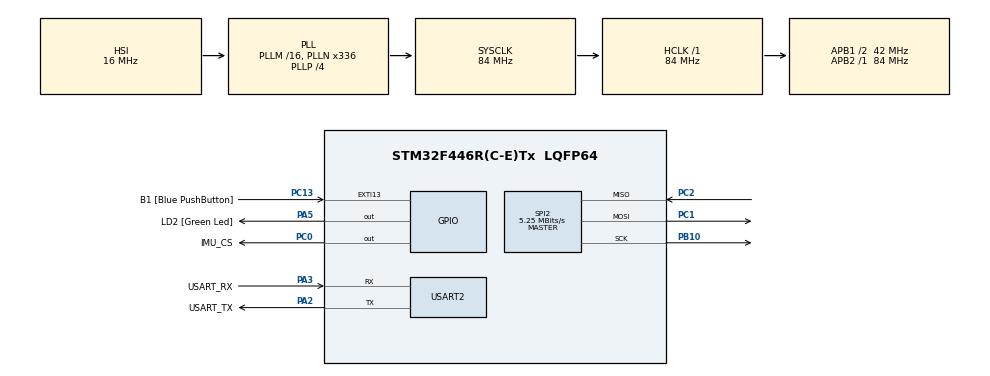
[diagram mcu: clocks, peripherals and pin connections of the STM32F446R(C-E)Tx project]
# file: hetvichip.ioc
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Mcu.Family=STM32F4
Mcu.Name=STM32F446R(C-E)Tx
Mcu.Package=LQFP64
NVIC.PriorityGroup=NVIC_PRIORITYGROUP_0
PA13.GPIO_Label=TMS
PA13.Mode=Serial_Wire
PA13.Signal=SYS_JTMS-SWDIO
PA14.GPIO_Label=TCK
PA14.Mode=Serial_Wire
PA14.Signal=SYS_JTCK-SWCLK
PA2.GPIO_Label=USART_TX
PA2.Mode=Asynchronous
PA2.Signal=USART2_TX
PA3.GPIO_Label=USART_RX
PA3.Mode=Asynchronous
PA3.Signal=USART2_RX
PA5.GPIO_Label=LD2 [Green Led]
PA5.Signal=GPIO_Output
PB10.Mode=Full_Duplex_Master
PB10.Signal=SPI2_SCK
PB3.GPIO_Label=SWO
PB3.Signal=SYS_JTDO-SWO
PC0.GPIO_Label=IMU_CS
PC0.Signal=GPIO_Output
PC1.Mode=Full_Duplex_Master
PC1.Signal=SPI2_MOSI
PC13.GPIO_Label=B1 [Blue PushButton]
PC13.GPIO_ModeDefaultEXTI=GPIO_MODE_IT_FALLING
PC13.Signal=GPXTI13
PC14-OSC32_IN.Mode=LSE-External-Oscillator
PC14-OSC32_IN.Signal=RCC_OSC32_IN
PC15-OSC32_OUT.Mode=LSE-External-Oscillator
PC15-OSC32_OUT.Signal=RCC_OSC32_OUT
PC2.Mode=Full_Duplex_Master
PC2.Signal=SPI2_MISO
PH0-OSC_IN.Mode=HSE-External-Oscillator
PH0-OSC_IN.Signal=RCC_OSC_IN
PH1-OSC_OUT.Mode=HSE-External-Oscillator
PH1-OSC_OUT.Signal=RCC_OSC_OUT
ProjectManager.HeapSize=0x200
ProjectManager.StackSize=0x400
ProjectManager.TargetToolchain=CMake
RCC.48MHZClocksFreq_Value=84000000
RCC.AHBFreq_Value=84000000
RCC.APB1CLKDivider=RCC_HCLK_DIV2
RCC.APB1Freq_Value=42000000
RCC.APB1TimFreq_Value=84000000
RCC.APB2Freq_Value=84000000
RCC.APB2TimFreq_Value=84000000
RCC.CortexFreq_Value=84000000
RCC.FLatency-AdvancedSettings=FLASH_LATENCY_2
RCC.HCLKFreq_Value=84000000
RCC.HSE_VALUE=8000000
RCC.HSI_VALUE=16000000
RCC.PLLN=336
RCC.PLLP=RCC_PLLP_DIV4
RCC.SYSCLKFreq_VALUE=84000000
RCC.SYSCLKSource=RCC_SYSCLKSOURCE_PLLCLK
RCC.USBFreq_Value=168000000
RCC.VCOOutputFreq_Value=336000000
SPI2.BaudRatePrescaler=SPI_BAUDRATEPRESCALER_8
SPI2.CalculateBaudRate=5.25 MBits/s
SPI2.Direction=SPI_DIRECTION_2LINES
SPI2.Mode=SPI_MODE_MASTER
SPI2.VirtualType=VM_MASTER
USART2.VirtualMode=VM_ASYNC
board=NUCLEO-F446RE

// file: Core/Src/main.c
/* USER CODE BEGIN Header */
/**
  ******************************************************************************
  * @file           : main.c
  * @brief          : Main program body
  ******************************************************************************
  * @attention
  *
  * Copyright (c) 2025 STMicroelectronics.
  * All rights reserved.
  *
  * This software is licensed under terms that can be found in the LICENSE file
  * in the root directory of this software component.
  * If no LICENSE file comes with this software, it is provided AS-IS.
  *
  ******************************************************************************
  */
/* USER CODE END Header */
#include "main.h"

/* USER CODE BEGIN Includes */
#include <stdio.h>
#include "lsm6dsv_reg.h"
/* USER CODE END Includes */

SPI_HandleTypeDef hspi2;

UART_HandleTypeDef huart2;

void SystemClock_Config(void);
static void MX_GPIO_Init(void);
static void MX_USART2_UART_Init(void);
static void MX_SPI2_Init(void);
/* USER CODE BEGIN PFP */
#ifdef __GNUC__
#define PUTCHAR_PROTOTYPE int __io_putchar(int ch)
#else
#define PUTCHAR_PROTOTYPE int fputc(int ch, FILE *f)
#endif

PUTCHAR_PROTOTYPE
{
  HAL_UART_Transmit(&huart2, (uint8_t *)&ch, 1, HAL_MAX_DELAY);
  return ch;
}

/* USER CODE END PFP */

/* USER CODE BEGIN 0 */
// Assume you have implemented these functions elsewhere

int32_t platform_write(void *handle, uint8_t reg, const uint8_t *bufp, uint16_t len)
{
  HAL_GPIO_WritePin(IMU_CS_GPIO_Port, IMU_CS_Pin, GPIO_PIN_RESET); //cs low
  HAL_SPI_Transmit(&hspi2, &reg, 1, HAL_MAX_DELAY);
  HAL_SPI_Transmit(&hspi2, (uint8_t*)bufp, len, HAL_MAX_DELAY);
  HAL_GPIO_WritePin(IMU_CS_GPIO_Port, IMU_CS_Pin, GPIO_PIN_SET); //cs high
  return 0;
}

int32_t platform_read(void *handle, uint8_t reg, uint8_t *bufp, uint16_t len)
{
  reg |= 0x80; // TODO
  HAL_GPIO_WritePin(IMU_CS_GPIO_Port, IMU_CS_Pin, GPIO_PIN_RESET); //cs low
  HAL_SPI_Transmit(&hspi2, &reg, 1, HAL_MAX_DELAY);
  HAL_SPI_Receive(&hspi2, bufp, len, HAL_MAX_DELAY);
  HAL_GPIO_WritePin(IMU_CS_GPIO_Port, IMU_CS_Pin, GPIO_PIN_SET); //cs high
  return 0;
}

void platform_delay(uint32_t ms)
{
  HAL_Delay(ms);
}

/* USER CODE END 0 */

int main(void)
{
      HAL_Init();

    /* Configure the system clock */
    SystemClock_Config();

    /* Initialize all configured peripherals */
    MX_GPIO_Init();
    MX_USART2_UART_Init();
    MX_SPI2_Init();
  /* USER CODE BEGIN 1 */
  // 1. Initialize the Driver Handle
    // This struct links your platform functions to the ST driver.
    stmdev_ctx_t dev_ctx;
    dev_ctx.write_reg = platform_write;
    dev_ctx.read_reg = platform_read;
    dev_ctx.mdelay = platform_delay;
    dev_ctx.handle = NULL; // Optional handle for your platform functions (e.g., I2C_HandleTypeDef*)

    // 2. Check Device Communication
    // Read the WHO_AM_I register to make sure you can talk to the sensor.
    uint8_t whoamI;
    lsm6dsv_device_id_get(&dev_ctx, &whoamI);
    if (whoamI != LSM6DSV_ID) {
        printf("Device not found!\n");
        while (1); // Halt
    }
    printf("LSM6DSV Found!\n");
    // 3. Restore Default Configuration & Reset
    lsm6dsv_reset_set(&dev_ctx, PROPERTY_ENABLE);
    uint8_t rst;
    do {
        lsm6dsv_reset_get(&dev_ctx, &rst);
    } while (rst);
    // 4. Configure Sensor Settings
    // Enable Block Data Update
    lsm6dsv_block_data_update_set(&dev_ctx, PROPERTY_ENABLE);
    // Set Accelerometer Full Scale & Output Data Rate (ODR)
    lsm6dsv_xl_full_scale_set(&dev_ctx, LSM6DSV_2g);  // Set to +/- 2g
    lsm6dsv_xl_data_rate_set(&dev_ctx, LSM6DSV_ODR_AT_120Hz); // Set to 104 Hz
    // Set Gyroscope Full Scale & Output Data Rate (ODR)
    lsm6dsv_gy_full_scale_set(&dev_ctx, LSM6DSV_2000dps); // Set to 2000 dps
    lsm6dsv_gy_data_rate_set(&dev_ctx, LSM6DSV_ODR_AT_120Hz);  // Set to 104 Hz

    // --- Main Loop ---
    while (1) {
        lsm6dsv_data_ready_t data_ready;
        // 5. Check if new data is available
        lsm6dsv_flag_data_ready_get(&dev_ctx, &data_ready);

        if (data_ready.drdy_xl) {
            int16_t raw_acc[3];
            float acc_mg[3]; // To store data in mg
            // 6. Read raw accelerometer data
            lsm6dsv_acceleration_raw_get(&dev_ctx, raw_acc);
            // 7. Convert raw data to engineering units (mg)
            acc_mg[0] = lsm6dsv_from_fs2_to_mg(raw_acc[0]);
            acc_mg[1] = lsm6dsv_from_fs2_to_mg(raw_acc[1]);
            acc_mg[2] = lsm6dsv_from_fs2_to_mg(raw_acc[2]);
            printf("Acc [mg]: X=%lu Y=%lu Z=%lu\n", (uint32_t) acc_mg[0], (uint32_t) acc_mg[1], (uint32_t) acc_mg[2]);
        }
        if (data_ready.drdy_gy) {
            int16_t raw_gyro[3];
            float gyro_mdps[3]; // To store data in mdps
            // 6. Read raw gyroscope data
            lsm6dsv_angular_rate_raw_get(&dev_ctx, raw_gyro);
            // 7. Convert raw data to engineering units (mdps)
            gyro_mdps[0] = lsm6dsv_from_fs2000_to_mdps(raw_gyro[0]);
            gyro_mdps[1] = lsm6dsv_from_fs2000_to_mdps(raw_gyro[1]);
            gyro_mdps[2] = lsm6dsv_from_fs2000_to_mdps(raw_gyro[2]);
            printf("Gyro [mdps]: X=%lu Y=%lu Z=%lu\n", (uint32_t) gyro_mdps[0], (uint32_t) gyro_mdps[1], (uint32_t) gyro_mdps[2]);
        }
        platform_delay(100); // Wait a bit before the next read

  // /* USER CODE END 1 */

  // /* MCU Configuration--------------------------------------------------------*/

  // /* Reset of all peripherals, Initializes the Flash interface and the Systick. */
  // HAL_Init();

  // /* USER CODE BEGIN Init */

  // /* USER CODE END Init */

  // /* Configure the system clock */
  // SystemClock_Config();

  // /* USER CODE BEGIN SysInit */

  // /* USER CODE END SysInit */

  // /* Initialize all configured peripherals */
  // MX_GPIO_Init();
  // MX_USART2_UART_Init();
  // MX_SPI2_Init();
  // /* USER CODE BEGIN 2 */
  // // char MSG[128] = "";
  // uint8_t X = 0;
  // /* USER CODE END 2 */

  // /* Infinite loop */
  // /* USER CODE BEGIN WHILE */
  // while (1)
  // {
  //   HAL_GPIO_TogglePin(LD2_GPIO_Port, LD2_Pin);
  //   HAL_Delay(300);
  //   /* USER CODE END WHILE */

  //   /* USER CODE BEGIN 3 */
  //   // sprintf(MSG, "Hello! Tracing X = %u\r\n", X);
  //   // HAL_UART_Transmit(&huart2, (uint8_t *)MSG, sizeof(MSG), 100);
  //   X++;
  //   printf("Hellaur %u\r\n", X);

  }
  /* USER CODE END 3 */
}

void SystemClock_Config(void)
{
  RCC_OscInitTypeDef RCC_OscInitStruct = {0};
  RCC_ClkInitTypeDef RCC_ClkInitStruct = {0};

  /** Configure the main internal regulator output voltage
  */
  __HAL_RCC_PWR_CLK_ENABLE();
  __HAL_PWR_VOLTAGESCALING_CONFIG(PWR_REGULATOR_VOLTAGE_SCALE3);

  /** Initializes the RCC Oscillators according to the specified parameters
  * in the RCC_OscInitTypeDef structure.
  */
  RCC_OscInitStruct.OscillatorType = RCC_OSCILLATORTYPE_HSI;
  RCC_OscInitStruct.HSIState = RCC_HSI_ON;
  RCC_OscInitStruct.HSICalibrationValue = RCC_HSICALIBRATION_DEFAULT;
  RCC_OscInitStruct.PLL.PLLState = RCC_PLL_ON;
  RCC_OscInitStruct.PLL.PLLSource = RCC_PLLSOURCE_HSI;
  RCC_OscInitStruct.PLL.PLLM = 16;
  RCC_OscInitStruct.PLL.PLLN = 336;
  RCC_OscInitStruct.PLL.PLLP = RCC_PLLP_DIV4;
  RCC_OscInitStruct.PLL.PLLQ = 2;
  RCC_OscInitStruct.PLL.PLLR = 2;
  if (HAL_RCC_OscConfig(&RCC_OscInitStruct) != HAL_OK)
  {
    Error_Handler();
  }

  /** Initializes the CPU, AHB and APB buses clocks
  */
  RCC_ClkInitStruct.ClockType = RCC_CLOCKTYPE_HCLK|RCC_CLOCKTYPE_SYSCLK
                              |RCC_CLOCKTYPE_PCLK1|RCC_CLOCKTYPE_PCLK2;
  RCC_ClkInitStruct.SYSCLKSource = RCC_SYSCLKSOURCE_PLLCLK;
  RCC_ClkInitStruct.AHBCLKDivider = RCC_SYSCLK_DIV1;
  RCC_ClkInitStruct.APB1CLKDivider = RCC_HCLK_DIV2;
  RCC_ClkInitStruct.APB2CLKDivider = RCC_HCLK_DIV1;

  if (HAL_RCC_ClockConfig(&RCC_ClkInitStruct, FLASH_LATENCY_2) != HAL_OK)
  {
    Error_Handler();
  }
}

static void MX_SPI2_Init(void)
{

  /* SPI2 parameter configuration*/
  hspi2.Instance = SPI2;
  hspi2.Init.Mode = SPI_MODE_MASTER;
  hspi2.Init.Direction = SPI_DIRECTION_2LINES;
  hspi2.Init.DataSize = SPI_DATASIZE_8BIT;
  hspi2.Init.CLKPolarity = SPI_POLARITY_LOW;
  hspi2.Init.CLKPhase = SPI_PHASE_1EDGE;
  hspi2.Init.NSS = SPI_NSS_SOFT;
  hspi2.Init.BaudRatePrescaler = SPI_BAUDRATEPRESCALER_8;
  hspi2.Init.FirstBit = SPI_FIRSTBIT_MSB;
  hspi2.Init.TIMode = SPI_TIMODE_DISABLE;
  hspi2.Init.CRCCalculation = SPI_CRCCALCULATION_DISABLE;
  hspi2.Init.CRCPolynomial = 10;
  if (HAL_SPI_Init(&hspi2) != HAL_OK)
  {
    Error_Handler();
  }

}

static void MX_USART2_UART_Init(void)
{

  huart2.Instance = USART2;
  huart2.Init.BaudRate = 115200;
  huart2.Init.WordLength = UART_WORDLENGTH_8B;
  huart2.Init.StopBits = UART_STOPBITS_1;
  huart2.Init.Parity = UART_PARITY_NONE;
  huart2.Init.Mode = UART_MODE_TX_RX;
  huart2.Init.HwFlowCtl = UART_HWCONTROL_NONE;
  huart2.Init.OverSampling = UART_OVERSAMPLING_16;
  if (HAL_UART_Init(&huart2) != HAL_OK)
  {
    Error_Handler();
  }

}

static void MX_GPIO_Init(void)
{
  GPIO_InitTypeDef GPIO_InitStruct = {0};

  /* GPIO Ports Clock Enable */
  __HAL_RCC_GPIOC_CLK_ENABLE();
  __HAL_RCC_GPIOH_CLK_ENABLE();
  __HAL_RCC_GPIOA_CLK_ENABLE();
  __HAL_RCC_GPIOB_CLK_ENABLE();

  /*Configure GPIO pin Output Level */
  HAL_GPIO_WritePin(IMU_CS_GPIO_Port, IMU_CS_Pin, GPIO_PIN_RESET);

  /*Configure GPIO pin Output Level */
  HAL_GPIO_WritePin(LD2_GPIO_Port, LD2_Pin, GPIO_PIN_RESET);

  /*Configure GPIO pin : B1_Pin */
  GPIO_InitStruct.Pin = B1_Pin;
  GPIO_InitStruct.Mode = GPIO_MODE_IT_FALLING;
  GPIO_InitStruct.Pull = GPIO_NOPULL;
  HAL_GPIO_Init(B1_GPIO_Port, &GPIO_InitStruct);

  /*Configure GPIO pin : IMU_CS_Pin */
  GPIO_InitStruct.Pin = IMU_CS_Pin;
  GPIO_InitStruct.Mode = GPIO_MODE_OUTPUT_PP;
  GPIO_InitStruct.Pull = GPIO_NOPULL;
  GPIO_InitStruct.Speed = GPIO_SPEED_FREQ_LOW;
  HAL_GPIO_Init(IMU_CS_GPIO_Port, &GPIO_InitStruct);

  /*Configure GPIO pin : LD2_Pin */
  GPIO_InitStruct.Pin = LD2_Pin;
  GPIO_InitStruct.Mode = GPIO_MODE_OUTPUT_PP;
  GPIO_InitStruct.Pull = GPIO_NOPULL;
  GPIO_InitStruct.Speed = GPIO_SPEED_FREQ_LOW;
  HAL_GPIO_Init(LD2_GPIO_Port, &GPIO_InitStruct);

}

void Error_Handler(void)
{
  __disable_irq();
  while (1)
  {
  }
}
